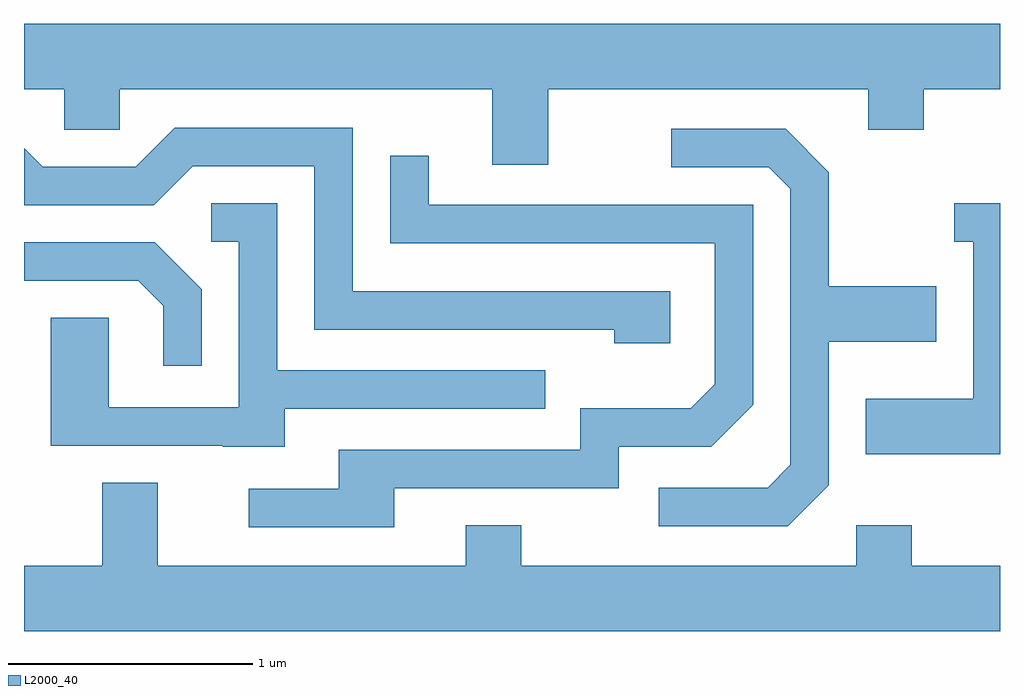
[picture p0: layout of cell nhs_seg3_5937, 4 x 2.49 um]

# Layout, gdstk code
import gdstk
lib = gdstk.Library(unit=1e-6, precision=1e-09)
def P(c, l, *ps):  # polygons
    for p in ps: c.add(gdstk.Polygon(p, *l))
L2000_40 = (2000, 40)

nhs_seg3_5937 = lib.new_cell('nhs_seg3_5937')
P(nhs_seg3_5937, L2000_40, [(361.759,1168.196),(363.071,1168.196),(363.071,1168.031),(363.299,1168.031),(363.299,1168.196),(363.611,1168.196),(363.611,1168.464),(359.611,1168.464),(359.611,1168.196),(359.776,1168.196),(359.776,1168.031),(360.004,1168.031),(360.004,1168.196),(361.531,1168.196),(361.531,1167.886),(361.759,1167.886)],
  [(362.259,1167.369),(360.959,1167.369),(360.959,1168.039),(360.229,1168.039),(360.069,1167.879),(359.687,1167.879),(359.611,1167.955),(359.611,1167.721),(360.142,1167.721),(360.302,1167.881),(360.801,1167.881),(360.801,1167.211),(362.031,1167.211),(362.031,1167.156),(362.259,1167.156)],
  [(362.909,1166.574),(362.909,1167.161),(363.349,1167.161),(363.349,1167.389),(362.909,1167.389),(362.909,1167.857),(362.732,1168.034),(362.263,1168.034),(362.263,1167.876),(362.664,1167.876),(362.751,1167.789),(362.751,1166.657),(362.659,1166.564),(362.213,1166.564),(362.213,1166.406),(362.742,1166.406)],
  [(361.129,1166.561),(362.049,1166.561),(362.049,1166.731),(362.427,1166.731),(362.599,1166.904),(362.599,1167.724),(361.269,1167.724),(361.269,1167.923),(361.111,1167.923),(361.111,1167.566),(362.441,1167.566),(362.441,1166.987),(362.344,1166.889),(361.891,1166.889),(361.891,1166.719),(360.901,1166.719),(360.901,1166.559),(360.533,1166.559),(360.533,1166.401),(361.129,1166.401)],
  [(360.679,1166.886),(361.748,1166.886),(361.748,1167.044),(360.649,1167.044),(360.649,1167.729),(360.378,1167.729),(360.378,1167.571),(360.491,1167.571),(360.491,1166.894),(359.959,1166.894),(359.959,1167.259),(359.721,1167.259),(359.721,1166.736),(360.425,1166.736),(360.425,1166.731),(360.679,1166.731)],
  [(363.611,1167.729),(363.423,1167.729),(363.423,1167.571),(363.501,1167.571),(363.501,1166.929),(363.061,1166.929),(363.061,1166.701),(363.611,1166.701)],
  [(360.339,1167.377),(360.147,1167.569),(359.611,1167.569),(359.611,1167.411),(360.079,1167.411),(360.181,1167.309),(360.181,1167.063),(360.339,1167.063)],
  [(363.611,1166.244),(363.249,1166.244),(363.249,1166.409),(363.021,1166.409),(363.021,1166.244),(361.649,1166.244),(361.649,1166.409),(361.421,1166.409),(361.421,1166.244),(360.159,1166.244),(360.159,1166.584),(359.931,1166.584),(359.931,1166.244),(359.611,1166.244),(359.611,1165.976),(363.611,1165.976)])

lib.write_gds('nhs_seg3_5937.gds')
